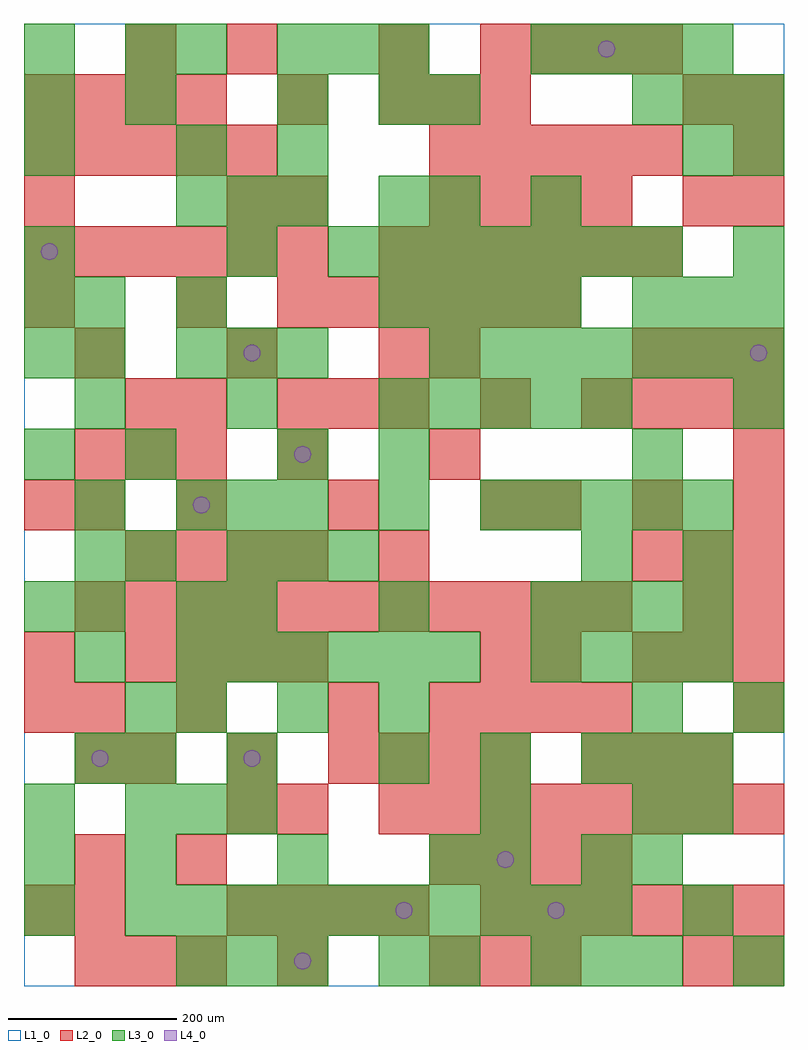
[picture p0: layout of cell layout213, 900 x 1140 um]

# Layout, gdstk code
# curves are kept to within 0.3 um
import gdstk
lib = gdstk.Library(unit=1e-6, precision=1e-09)
def R(c, l, rs):  # rectangles x0, y0, x1, y1
    for r in rs: c.add(gdstk.rectangle(r[:2], r[2:], *l))
def A(c, l, x, y, w, h, nx, ny, dx, dy):  # array of equal rectangles
    R(c, l, [(x+i*dx, y+j*dy, x+i*dx+w, y+j*dy+h) for i in range(nx) for j in range(ny)])
def P(c, l, *ps):  # polygons
    for p in ps: c.add(gdstk.Polygon(p, *l))
L1_0 = (1, 0)
L2_0 = (2, 0)
L3_0 = (3, 0)
L4_0 = (4, 0)

layout213 = lib.new_cell('layout213')
R(layout213, L1_0, [(0,0,900,1140)])
A(layout213, L2_0, 60, 0, 60, 60, 3, 2, 60, 600)
A(layout213, L2_0, 480, 0, 60, 60, 3, 1, 60, 0)
A(layout213, L2_0, 240, 60, 60, 60, 4, 1, 60, 0)
A(layout213, L2_0, 540, 60, 60, 60, 6, 1, 60, 0)
A(layout213, L2_0, 480, 120, 60, 60, 4, 2, 60, 180)
A(layout213, L2_0, 420, 180, 60, 60, 8, 1, 60, 0)
A(layout213, L2_0, 120, 240, 60, 60, 3, 1, 120, 0)
A(layout213, L2_0, 420, 240, 60, 60, 3, 2, 60, 780)
A(layout213, L2_0, 660, 240, 60, 60, 3, 1, 60, 0)
A(layout213, L2_0, 120, 360, 60, 60, 4, 2, 60, 120)
A(layout213, L2_0, 720, 360, 60, 60, 3, 2, 60, 120)
A(layout213, L2_0, 60, 420, 60, 60, 11, 1, 60, 0)
A(layout213, L2_0, 180, 540, 60, 60, 3, 1, 180, 0)
A(layout213, L2_0, 600, 540, 60, 60, 3, 1, 120, 0)
A(layout213, L2_0, 300, 660, 60, 60, 3, 1, 60, 0)
A(layout213, L2_0, 660, 660, 60, 60, 4, 1, 60, 0)
A(layout213, L2_0, 60, 720, 60, 60, 3, 1, 180, 0)
A(layout213, L2_0, 720, 720, 60, 60, 3, 1, 60, 0)
A(layout213, L2_0, 300, 780, 60, 60, 6, 1, 60, 0)
A(layout213, L2_0, 0, 840, 60, 60, 6, 1, 60, 0)
A(layout213, L2_0, 420, 840, 60, 60, 6, 1, 60, 0)
A(layout213, L2_0, 480, 900, 60, 60, 4, 1, 60, 0)
A(layout213, L2_0, 840, 900, 60, 60, 1, 3, 0, 60)
A(layout213, L2_0, 0, 960, 60, 60, 5, 1, 60, 0)
A(layout213, L2_0, 480, 960, 60, 60, 5, 1, 60, 0)
A(layout213, L2_0, 0, 1020, 60, 60, 4, 1, 60, 0)
A(layout213, L2_0, 540, 1080, 60, 60, 4, 1, 60, 0)
R(layout213, L2_0, [(300,0,360,60), (780,0,840,60), (840,0,900,60), (0,60,60,120), (60,60,120,120), (60,120,120,180), (180,120,240,180), (240,180,300,240), (300,180,360,240), (60,240,120,300), (0,300,60,360), (60,300,120,360), (180,300,240,360), (360,300,420,360), (840,300,900,360), (0,360,60,420), (540,360,600,420), (600,360,660,420), (780,420,840,480), (840,420,900,480), (420,480,480,540), (0,540,60,600), (60,540,120,600), (300,600,360,660), (480,600,540,660), (840,600,900,660), (120,660,180,720), (180,660,240,720), (540,660,600,720), (480,720,540,780), (0,780,60,840), (180,780,240,840), (0,900,60,960), (240,900,300,960), (300,900,360,960), (780,900,840,960), (300,1020,360,1080), (780,1020,840,1080), (120,1080,180,1140), (240,1080,300,1140), (420,1080,480,1140)])
A(layout213, L3_0, 180, 0, 60, 60, 3, 2, 60, 540)
A(layout213, L3_0, 600, 0, 60, 60, 3, 1, 60, 0)
A(layout213, L3_0, 0, 60, 60, 60, 1, 3, 0, 60)
A(layout213, L3_0, 120, 60, 60, 60, 10, 1, 60, 0)
A(layout213, L3_0, 120, 120, 60, 60, 3, 1, 180, 0)
A(layout213, L3_0, 720, 120, 60, 60, 1, 4, 0, 60)
A(layout213, L3_0, 120, 180, 60, 60, 3, 1, 60, 0)
A(layout213, L3_0, 420, 240, 60, 60, 3, 1, 120, 0)
A(layout213, L3_0, 180, 300, 60, 60, 3, 1, 120, 0)
A(layout213, L3_0, 60, 360, 60, 60, 1, 4, 0, 60)
A(layout213, L3_0, 180, 360, 60, 60, 6, 1, 60, 0)
A(layout213, L3_0, 600, 360, 60, 60, 4, 2, 60, 720)
A(layout213, L3_0, 240, 420, 60, 60, 3, 1, 180, 0)
A(layout213, L3_0, 660, 420, 60, 60, 3, 1, 60, 0)
A(layout213, L3_0, 240, 480, 60, 60, 3, 1, 60, 0)
A(layout213, L3_0, 540, 540, 60, 60, 5, 1, 60, 0)
A(layout213, L3_0, 60, 660, 60, 60, 3, 1, 180, 0)
A(layout213, L3_0, 480, 660, 60, 60, 4, 1, 60, 0)
A(layout213, L3_0, 0, 720, 60, 60, 1, 3, 0, 60)
A(layout213, L3_0, 180, 720, 60, 60, 3, 2, 60, 180)
A(layout213, L3_0, 480, 720, 60, 60, 7, 1, 60, 0)
A(layout213, L3_0, 420, 780, 60, 60, 4, 1, 60, 0)
A(layout213, L3_0, 720, 780, 60, 60, 3, 2, 60, 240)
A(layout213, L3_0, 360, 840, 60, 60, 7, 1, 60, 0)
A(layout213, L3_0, 0, 960, 60, 60, 1, 3, 0, 60)
A(layout213, L3_0, 300, 1080, 60, 60, 3, 1, 60, 0)
R(layout213, L3_0, [(420,0,480,60), (480,0,540,60), (840,0,900,60), (780,60,840,120), (540,120,600,180), (660,120,720,180), (540,180,600,240), (780,180,840,240), (60,240,120,300), (120,240,180,300), (240,240,300,300), (780,240,840,300), (120,300,180,360), (840,300,900,360), (0,420,60,480), (180,420,240,480), (120,480,180,540), (660,480,720,540), (780,480,840,540), (420,540,480,600), (0,600,60,660), (120,600,180,660), (300,600,360,660), (420,600,480,660), (720,600,780,660), (840,660,900,720), (60,720,120,780), (60,780,120,840), (180,780,240,840), (240,840,300,900), (840,840,900,900), (420,900,480,960), (480,900,540,960), (600,900,660,960), (180,960,240,1020), (300,960,360,1020), (780,960,840,1020), (840,960,900,1020), (120,1020,180,1080), (300,1020,360,1080), (420,1020,480,1080), (480,1020,540,1080), (120,1080,180,1140), (180,1080,240,1140)])
P(layout213, L4_0, [(40,870),(39.239,873.827),(37.071,877.071),(33.827,879.239),(30,880),(26.173,879.239),(22.929,877.071),(20.761,873.827),(20,870),(20.761,866.173),(22.929,862.929),(26.173,860.761),(30,860),(33.827,860.761),(37.071,862.929),(39.239,866.173)],
  [(100,270),(99.239,273.827),(97.071,277.071),(93.827,279.239),(90,280),(86.173,279.239),(82.929,277.071),(80.761,273.827),(80,270),(80.761,266.173),(82.929,262.929),(86.173,260.761),(90,260),(93.827,260.761),(97.071,262.929),(99.239,266.173)],
  [(220,570),(219.239,573.827),(217.071,577.071),(213.827,579.239),(210,580),(206.173,579.239),(202.929,577.071),(200.761,573.827),(200,570),(200.761,566.173),(202.929,562.929),(206.173,560.761),(210,560),(213.827,560.761),(217.071,562.929),(219.239,566.173)],
  [(280,270),(279.239,273.827),(277.071,277.071),(273.827,279.239),(270,280),(266.173,279.239),(262.929,277.071),(260.761,273.827),(260,270),(260.761,266.173),(262.929,262.929),(266.173,260.761),(270,260),(273.827,260.761),(277.071,262.929),(279.239,266.173)],
  [(280,750),(279.239,753.827),(277.071,757.071),(273.827,759.239),(270,760),(266.173,759.239),(262.929,757.071),(260.761,753.827),(260,750),(260.761,746.173),(262.929,742.929),(266.173,740.761),(270,740),(273.827,740.761),(277.071,742.929),(279.239,746.173)],
  [(340,30),(339.239,33.827),(337.071,37.071),(333.827,39.239),(330,40),(326.173,39.239),(322.929,37.071),(320.761,33.827),(320,30),(320.761,26.173),(322.929,22.929),(326.173,20.761),(330,20),(333.827,20.761),(337.071,22.929),(339.239,26.173)],
  [(340,630),(339.239,633.827),(337.071,637.071),(333.827,639.239),(330,640),(326.173,639.239),(322.929,637.071),(320.761,633.827),(320,630),(320.761,626.173),(322.929,622.929),(326.173,620.761),(330,620),(333.827,620.761),(337.071,622.929),(339.239,626.173)],
  [(460,90),(459.239,93.827),(457.071,97.071),(453.827,99.239),(450,100),(446.173,99.239),(442.929,97.071),(440.761,93.827),(440,90),(440.761,86.173),(442.929,82.929),(446.173,80.761),(450,80),(453.827,80.761),(457.071,82.929),(459.239,86.173)],
  [(580,150),(579.239,153.827),(577.071,157.071),(573.827,159.239),(570,160),(566.173,159.239),(562.929,157.071),(560.761,153.827),(560,150),(560.761,146.173),(562.929,142.929),(566.173,140.761),(570,140),(573.827,140.761),(577.071,142.929),(579.239,146.173)],
  [(640,90),(639.239,93.827),(637.071,97.071),(633.827,99.239),(630,100),(626.173,99.239),(622.929,97.071),(620.761,93.827),(620,90),(620.761,86.173),(622.929,82.929),(626.173,80.761),(630,80),(633.827,80.761),(637.071,82.929),(639.239,86.173)],
  [(700,1110),(699.239,1113.827),(697.071,1117.071),(693.827,1119.239),(690,1120),(686.173,1119.239),(682.929,1117.071),(680.761,1113.827),(680,1110),(680.761,1106.173),(682.929,1102.929),(686.173,1100.761),(690,1100),(693.827,1100.761),(697.071,1102.929),(699.239,1106.173)],
  [(880,750),(879.239,753.827),(877.071,757.071),(873.827,759.239),(870,760),(866.173,759.239),(862.929,757.071),(860.761,753.827),(860,750),(860.761,746.173),(862.929,742.929),(866.173,740.761),(870,740),(873.827,740.761),(877.071,742.929),(879.239,746.173)])

lib.write_gds('layout213.gds')
